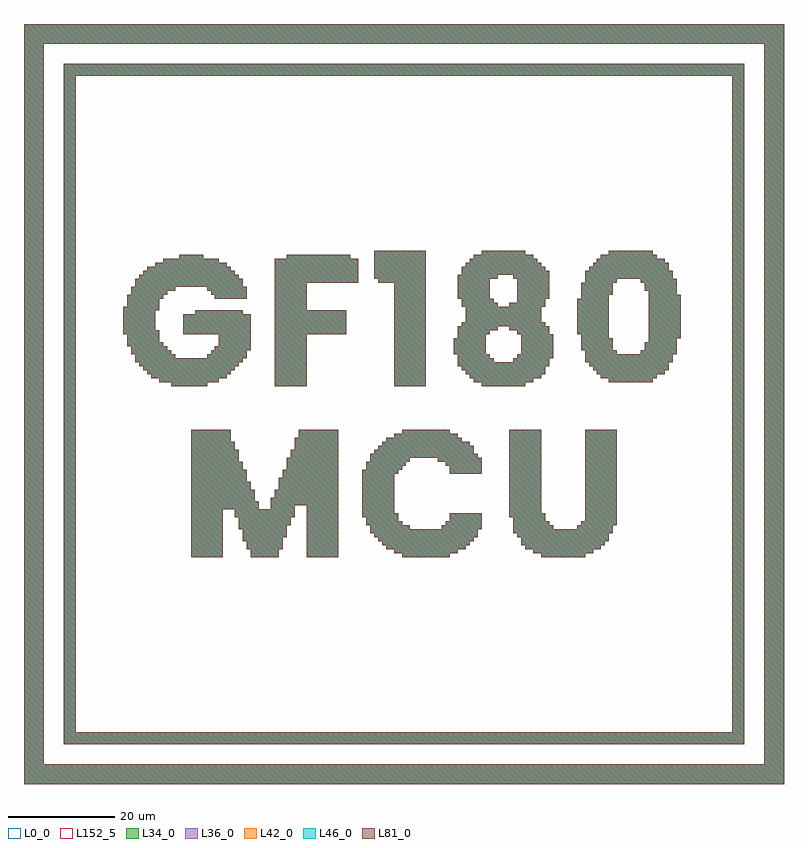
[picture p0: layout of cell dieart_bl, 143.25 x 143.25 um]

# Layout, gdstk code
import gdstk
lib = gdstk.Library(unit=1e-6, precision=1e-09)
def R(c, l, rs):  # rectangles x0, y0, x1, y1
    for r in rs: c.add(gdstk.rectangle(r[:2], r[2:], *l))
def A(c, l, x, y, w, h, nx, ny, dx, dy):  # array of equal rectangles
    R(c, l, [(x+i*dx, y+j*dy, x+i*dx+w, y+j*dy+h) for i in range(nx) for j in range(ny)])
L0_0 = (0, 0)
L34_0 = (34, 0)
L36_0 = (36, 0)
L42_0 = (42, 0)
L46_0 = (46, 0)
L81_0 = (81, 0)
L152_5 = (152, 5)

dieart_bl = lib.new_cell('dieart_bl')
R(dieart_bl, L0_0, [(0,0,143.25,143.25)])
A(dieart_bl, L34_0, 65.25, 48, 7.5, 0.75, 3, 1, 13.5, 0)
A(dieart_bl, L34_0, 79.5, 48.75, 6.75, 0.75, 3, 1, 12.75, 0)
R(dieart_bl, L34_0, [(0,0,143.25,3.75), (0,3.75,3.75,139.5), (139.5,3.75,143.25,139.5), (7.5,7.5,135.75,9.75), (7.5,9.75,9.75,133.5), (133.5,9.75,135.75,133.5), (31.5,42.75,37.5,51.75), (42.75,42.75,48,44.25), (53.25,42.75,59.25,52.5), (71.25,42.75,80.25,43.5), (97.5,42.75,105.75,43.5), (69.75,43.5,81.75,44.25), (96,43.5,107.25,44.25), (42,44.25,48.75,45.75), (68.25,44.25,83.25,45), (94.5,44.25,108.75,45), (67.5,45,84,45.75), (93.75,45,109.5,45.75), (41.25,45.75,48.75,46.5), (66.75,45.75,84.75,46.5), (93.75,45.75,110.25,46.5), (41.25,46.5,49.5,48), (66,46.5,85.5,47.25), (93,46.5,110.25,47.25), (65.25,47.25,85.5,48), (92.25,47.25,111,48), (40.5,48,49.5,48.75), (104.25,48,111,48.75), (40.5,48.75,50.25,50.25), (64.5,48.75,71.25,49.5), (64.5,49.5,70.5,50.25), (80.25,49.5,86.25,51), (92.25,49.5,98.25,50.25), (105.75,49.5,111.75,66.75), (39.75,50.25,51,51.75), (63.75,50.25,70.5,51), (91.5,50.25,98.25,51), (63.75,51,69.75,58.5), (91.5,51,97.5,66.75), (31.5,51.75,44.25,53.25), (46.5,51.75,51,52.5), (46.5,52.5,59.25,54), (31.5,53.25,43.5,55.5), (47.25,54,59.25,55.5), (31.5,55.5,42.75,57), (48,55.5,59.25,57.75), (31.5,57,42,59.25), (48.75,57.75,59.25,59.25), (63.75,58.5,70.5,59.25), (80.25,58.5,86.25,60), (31.5,59.25,41.25,60.75), (49.5,59.25,59.25,61.5), (64.5,59.25,71.25,60), (64.5,60,72,60.75), (79.5,60,86.25,60.75), (31.5,60.75,40.5,63), (65.25,60.75,72.75,61.5), (78,60.75,86.25,61.5), (50.25,61.5,59.25,63), (65.25,61.5,85.5,62.25), (66,62.25,84.75,63), (31.5,63,39.75,64.5), (51,63,59.25,65.25), (66.75,63,84.75,63.75), (67.5,63.75,84,64.5), (31.5,64.5,39,66.75), (68.25,64.5,82.5,65.25), (51.75,65.25,59.25,66.75), (69.75,65.25,81.75,66), (71.25,66,80.25,66.75), (27.75,75,34.5,75.75), (47.25,75,53.25,84.75), (69.75,75,75.75,94.5), (86.25,75,94.5,75.75), (25.5,75.75,36.75,76.5), (84.75,75.75,96,76.5), (110.25,75.75,118.5,76.5), (24,76.5,38.25,77.25), (84,76.5,97.5,77.25), (108.75,76.5,119.25,77.25), (23.25,77.25,39,78), (83.25,77.25,98.25,78), (108,77.25,120.75,78), (22.5,78,39.75,78.75), (82.5,78,98.25,78.75), (107.25,78,121.5,78.75), (21.75,78.75,40.5,79.5), (81.75,78.75,99,79.5), (106.5,78.75,121.5,79.5), (21,79.5,41.25,80.25), (81.75,79.5,88.5,80.25), (92.25,79.5,99,80.25), (105.75,79.5,122.25,81), (21,80.25,28.5,81), (34.5,80.25,42,81), (81.75,80.25,87.75,81), (93,80.25,99.75,81), (20.25,81,27.75,81.75), (35.25,81,42,81.75), (81,81,87,84), (93.75,81,99.75,84.75), (105.75,81,111.75,81.75), (116.25,81,123,81.75), (20.25,81.75,27,82.5), (36,81.75,42.75,82.5), (105,81.75,111,84), (117,81.75,123,83.25), (19.5,82.5,26.25,83.25), (36.75,82.5,42.75,84.75), (19.5,83.25,25.5,84.75), (117.75,83.25,123,84), (81.75,84,87,84.75), (105,84,110.25,84.75), (117.75,84,123.75,92.25), (18.75,84.75,25.5,85.5), (30,84.75,42.75,88.5), (47.25,84.75,60.75,89.25), (81.75,84.75,87.75,85.5), (93,84.75,99,85.5), (104.25,84.75,110.25,91.5), (18.75,85.5,24.75,89.25), (81.75,85.5,89.25,86.25), (91.5,85.5,99,86.25), (82.5,86.25,98.25,87), (83.25,87,97.5,90), (32.25,88.5,41.25,89.25), (18.75,89.25,25.5,90), (47.25,89.25,53.25,94.5), (19.5,90,25.5,91.5), (82.5,90,89.25,90.75), (91.5,90,98.25,90.75), (82.5,90.75,88.5,91.5), (93,90.75,98.25,91.5), (19.5,91.5,26.25,92.25), (36,91.5,42,92.25), (81.75,91.5,87.75,95.25), (93,91.5,99,95.25), (105,91.5,110.25,92.25), (20.25,92.25,27,93), (35.25,92.25,42,93), (105,92.25,111,94.5), (117.75,92.25,123,93), (20.25,93,28.5,93.75), (34.5,93,42,93.75), (117,93,123,94.5), (21,93.75,41.25,95.25), (47.25,94.5,63,99), (66.75,94.5,75.75,95.25), (105.75,94.5,111.75,95.25), (116.25,94.5,123,95.25), (21.75,95.25,40.5,96), (66,95.25,75.75,100.5), (81.75,95.25,89.25,96), (92.25,95.25,99,96), (105.75,95.25,122.25,96.75), (22.5,96,39.75,96.75), (82.5,96,99,96.75), (23.25,96.75,39,97.5), (82.5,96.75,98.25,97.5), (106.5,96.75,121.5,97.5), (24.75,97.5,38.25,98.25), (83.25,97.5,97.5,98.25), (107.25,97.5,121.5,98.25), (26.25,98.25,36.75,99), (84,98.25,96.75,99), (108,98.25,120.75,99), (29.25,99,33.75,99.75), (49.5,99,61.5,99.75), (84.75,99,96,99.75), (108.75,99,119.25,99.75), (86.25,99.75,94.5,100.5), (110.25,99.75,118.5,100.5), (7.5,133.5,135.75,135.75), (0,139.5,143.25,143.25)])
A(dieart_bl, L36_0, 65.25, 48, 7.5, 0.75, 3, 1, 13.5, 0)
A(dieart_bl, L36_0, 79.5, 48.75, 6.75, 0.75, 3, 1, 12.75, 0)
R(dieart_bl, L36_0, [(0,0,143.25,3.75), (0,3.75,3.75,139.5), (139.5,3.75,143.25,139.5), (7.5,7.5,135.75,9.75), (7.5,9.75,9.75,133.5), (133.5,9.75,135.75,133.5), (31.5,42.75,37.5,51.75), (42.75,42.75,48,44.25), (53.25,42.75,59.25,52.5), (71.25,42.75,80.25,43.5), (97.5,42.75,105.75,43.5), (69.75,43.5,81.75,44.25), (96,43.5,107.25,44.25), (42,44.25,48.75,45.75), (68.25,44.25,83.25,45), (94.5,44.25,108.75,45), (67.5,45,84,45.75), (93.75,45,109.5,45.75), (41.25,45.75,48.75,46.5), (66.75,45.75,84.75,46.5), (93.75,45.75,110.25,46.5), (41.25,46.5,49.5,48), (66,46.5,85.5,47.25), (93,46.5,110.25,47.25), (65.25,47.25,85.5,48), (92.25,47.25,111,48), (40.5,48,49.5,48.75), (104.25,48,111,48.75), (40.5,48.75,50.25,50.25), (64.5,48.75,71.25,49.5), (64.5,49.5,70.5,50.25), (80.25,49.5,86.25,51), (92.25,49.5,98.25,50.25), (105.75,49.5,111.75,66.75), (39.75,50.25,51,51.75), (63.75,50.25,70.5,51), (91.5,50.25,98.25,51), (63.75,51,69.75,58.5), (91.5,51,97.5,66.75), (31.5,51.75,44.25,53.25), (46.5,51.75,51,52.5), (46.5,52.5,59.25,54), (31.5,53.25,43.5,55.5), (47.25,54,59.25,55.5), (31.5,55.5,42.75,57), (48,55.5,59.25,57.75), (31.5,57,42,59.25), (48.75,57.75,59.25,59.25), (63.75,58.5,70.5,59.25), (80.25,58.5,86.25,60), (31.5,59.25,41.25,60.75), (49.5,59.25,59.25,61.5), (64.5,59.25,71.25,60), (64.5,60,72,60.75), (79.5,60,86.25,60.75), (31.5,60.75,40.5,63), (65.25,60.75,72.75,61.5), (78,60.75,86.25,61.5), (50.25,61.5,59.25,63), (65.25,61.5,85.5,62.25), (66,62.25,84.75,63), (31.5,63,39.75,64.5), (51,63,59.25,65.25), (66.75,63,84.75,63.75), (67.5,63.75,84,64.5), (31.5,64.5,39,66.75), (68.25,64.5,82.5,65.25), (51.75,65.25,59.25,66.75), (69.75,65.25,81.75,66), (71.25,66,80.25,66.75), (27.75,75,34.5,75.75), (47.25,75,53.25,84.75), (69.75,75,75.75,94.5), (86.25,75,94.5,75.75), (25.5,75.75,36.75,76.5), (84.75,75.75,96,76.5), (110.25,75.75,118.5,76.5), (24,76.5,38.25,77.25), (84,76.5,97.5,77.25), (108.75,76.5,119.25,77.25), (23.25,77.25,39,78), (83.25,77.25,98.25,78), (108,77.25,120.75,78), (22.5,78,39.75,78.75), (82.5,78,98.25,78.75), (107.25,78,121.5,78.75), (21.75,78.75,40.5,79.5), (81.75,78.75,99,79.5), (106.5,78.75,121.5,79.5), (21,79.5,41.25,80.25), (81.75,79.5,88.5,80.25), (92.25,79.5,99,80.25), (105.75,79.5,122.25,81), (21,80.25,28.5,81), (34.5,80.25,42,81), (81.75,80.25,87.75,81), (93,80.25,99.75,81), (20.25,81,27.75,81.75), (35.25,81,42,81.75), (81,81,87,84), (93.75,81,99.75,84.75), (105.75,81,111.75,81.75), (116.25,81,123,81.75), (20.25,81.75,27,82.5), (36,81.75,42.75,82.5), (105,81.75,111,84), (117,81.75,123,83.25), (19.5,82.5,26.25,83.25), (36.75,82.5,42.75,84.75), (19.5,83.25,25.5,84.75), (117.75,83.25,123,84), (81.75,84,87,84.75), (105,84,110.25,84.75), (117.75,84,123.75,92.25), (18.75,84.75,25.5,85.5), (30,84.75,42.75,88.5), (47.25,84.75,60.75,89.25), (81.75,84.75,87.75,85.5), (93,84.75,99,85.5), (104.25,84.75,110.25,91.5), (18.75,85.5,24.75,89.25), (81.75,85.5,89.25,86.25), (91.5,85.5,99,86.25), (82.5,86.25,98.25,87), (83.25,87,97.5,90), (32.25,88.5,41.25,89.25), (18.75,89.25,25.5,90), (47.25,89.25,53.25,94.5), (19.5,90,25.5,91.5), (82.5,90,89.25,90.75), (91.5,90,98.25,90.75), (82.5,90.75,88.5,91.5), (93,90.75,98.25,91.5), (19.5,91.5,26.25,92.25), (36,91.5,42,92.25), (81.75,91.5,87.75,95.25), (93,91.5,99,95.25), (105,91.5,110.25,92.25), (20.25,92.25,27,93), (35.25,92.25,42,93), (105,92.25,111,94.5), (117.75,92.25,123,93), (20.25,93,28.5,93.75), (34.5,93,42,93.75), (117,93,123,94.5), (21,93.75,41.25,95.25), (47.25,94.5,63,99), (66.75,94.5,75.75,95.25), (105.75,94.5,111.75,95.25), (116.25,94.5,123,95.25), (21.75,95.25,40.5,96), (66,95.25,75.75,100.5), (81.75,95.25,89.25,96), (92.25,95.25,99,96), (105.75,95.25,122.25,96.75), (22.5,96,39.75,96.75), (82.5,96,99,96.75), (23.25,96.75,39,97.5), (82.5,96.75,98.25,97.5), (106.5,96.75,121.5,97.5), (24.75,97.5,38.25,98.25), (83.25,97.5,97.5,98.25), (107.25,97.5,121.5,98.25), (26.25,98.25,36.75,99), (84,98.25,96.75,99), (108,98.25,120.75,99), (29.25,99,33.75,99.75), (49.5,99,61.5,99.75), (84.75,99,96,99.75), (108.75,99,119.25,99.75), (86.25,99.75,94.5,100.5), (110.25,99.75,118.5,100.5), (7.5,133.5,135.75,135.75), (0,139.5,143.25,143.25)])
A(dieart_bl, L42_0, 65.25, 48, 7.5, 0.75, 3, 1, 13.5, 0)
A(dieart_bl, L42_0, 79.5, 48.75, 6.75, 0.75, 3, 1, 12.75, 0)
R(dieart_bl, L42_0, [(0,0,143.25,3.75), (0,3.75,3.75,139.5), (139.5,3.75,143.25,139.5), (7.5,7.5,135.75,9.75), (7.5,9.75,9.75,133.5), (133.5,9.75,135.75,133.5), (31.5,42.75,37.5,51.75), (42.75,42.75,48,44.25), (53.25,42.75,59.25,52.5), (71.25,42.75,80.25,43.5), (97.5,42.75,105.75,43.5), (69.75,43.5,81.75,44.25), (96,43.5,107.25,44.25), (42,44.25,48.75,45.75), (68.25,44.25,83.25,45), (94.5,44.25,108.75,45), (67.5,45,84,45.75), (93.75,45,109.5,45.75), (41.25,45.75,48.75,46.5), (66.75,45.75,84.75,46.5), (93.75,45.75,110.25,46.5), (41.25,46.5,49.5,48), (66,46.5,85.5,47.25), (93,46.5,110.25,47.25), (65.25,47.25,85.5,48), (92.25,47.25,111,48), (40.5,48,49.5,48.75), (104.25,48,111,48.75), (40.5,48.75,50.25,50.25), (64.5,48.75,71.25,49.5), (64.5,49.5,70.5,50.25), (80.25,49.5,86.25,51), (92.25,49.5,98.25,50.25), (105.75,49.5,111.75,66.75), (39.75,50.25,51,51.75), (63.75,50.25,70.5,51), (91.5,50.25,98.25,51), (63.75,51,69.75,58.5), (91.5,51,97.5,66.75), (31.5,51.75,44.25,53.25), (46.5,51.75,51,52.5), (46.5,52.5,59.25,54), (31.5,53.25,43.5,55.5), (47.25,54,59.25,55.5), (31.5,55.5,42.75,57), (48,55.5,59.25,57.75), (31.5,57,42,59.25), (48.75,57.75,59.25,59.25), (63.75,58.5,70.5,59.25), (80.25,58.5,86.25,60), (31.5,59.25,41.25,60.75), (49.5,59.25,59.25,61.5), (64.5,59.25,71.25,60), (64.5,60,72,60.75), (79.5,60,86.25,60.75), (31.5,60.75,40.5,63), (65.25,60.75,72.75,61.5), (78,60.75,86.25,61.5), (50.25,61.5,59.25,63), (65.25,61.5,85.5,62.25), (66,62.25,84.75,63), (31.5,63,39.75,64.5), (51,63,59.25,65.25), (66.75,63,84.75,63.75), (67.5,63.75,84,64.5), (31.5,64.5,39,66.75), (68.25,64.5,82.5,65.25), (51.75,65.25,59.25,66.75), (69.75,65.25,81.75,66), (71.25,66,80.25,66.75), (27.75,75,34.5,75.75), (47.25,75,53.25,84.75), (69.75,75,75.75,94.5), (86.25,75,94.5,75.75), (25.5,75.75,36.75,76.5), (84.75,75.75,96,76.5), (110.25,75.75,118.5,76.5), (24,76.5,38.25,77.25), (84,76.5,97.5,77.25), (108.75,76.5,119.25,77.25), (23.25,77.25,39,78), (83.25,77.25,98.25,78), (108,77.25,120.75,78), (22.5,78,39.75,78.75), (82.5,78,98.25,78.75), (107.25,78,121.5,78.75), (21.75,78.75,40.5,79.5), (81.75,78.75,99,79.5), (106.5,78.75,121.5,79.5), (21,79.5,41.25,80.25), (81.75,79.5,88.5,80.25), (92.25,79.5,99,80.25), (105.75,79.5,122.25,81), (21,80.25,28.5,81), (34.5,80.25,42,81), (81.75,80.25,87.75,81), (93,80.25,99.75,81), (20.25,81,27.75,81.75), (35.25,81,42,81.75), (81,81,87,84), (93.75,81,99.75,84.75), (105.75,81,111.75,81.75), (116.25,81,123,81.75), (20.25,81.75,27,82.5), (36,81.75,42.75,82.5), (105,81.75,111,84), (117,81.75,123,83.25), (19.5,82.5,26.25,83.25), (36.75,82.5,42.75,84.75), (19.5,83.25,25.5,84.75), (117.75,83.25,123,84), (81.75,84,87,84.75), (105,84,110.25,84.75), (117.75,84,123.75,92.25), (18.75,84.75,25.5,85.5), (30,84.75,42.75,88.5), (47.25,84.75,60.75,89.25), (81.75,84.75,87.75,85.5), (93,84.75,99,85.5), (104.25,84.75,110.25,91.5), (18.75,85.5,24.75,89.25), (81.75,85.5,89.25,86.25), (91.5,85.5,99,86.25), (82.5,86.25,98.25,87), (83.25,87,97.5,90), (32.25,88.5,41.25,89.25), (18.75,89.25,25.5,90), (47.25,89.25,53.25,94.5), (19.5,90,25.5,91.5), (82.5,90,89.25,90.75), (91.5,90,98.25,90.75), (82.5,90.75,88.5,91.5), (93,90.75,98.25,91.5), (19.5,91.5,26.25,92.25), (36,91.5,42,92.25), (81.75,91.5,87.75,95.25), (93,91.5,99,95.25), (105,91.5,110.25,92.25), (20.25,92.25,27,93), (35.25,92.25,42,93), (105,92.25,111,94.5), (117.75,92.25,123,93), (20.25,93,28.5,93.75), (34.5,93,42,93.75), (117,93,123,94.5), (21,93.75,41.25,95.25), (47.25,94.5,63,99), (66.75,94.5,75.75,95.25), (105.75,94.5,111.75,95.25), (116.25,94.5,123,95.25), (21.75,95.25,40.5,96), (66,95.25,75.75,100.5), (81.75,95.25,89.25,96), (92.25,95.25,99,96), (105.75,95.25,122.25,96.75), (22.5,96,39.75,96.75), (82.5,96,99,96.75), (23.25,96.75,39,97.5), (82.5,96.75,98.25,97.5), (106.5,96.75,121.5,97.5), (24.75,97.5,38.25,98.25), (83.25,97.5,97.5,98.25), (107.25,97.5,121.5,98.25), (26.25,98.25,36.75,99), (84,98.25,96.75,99), (108,98.25,120.75,99), (29.25,99,33.75,99.75), (49.5,99,61.5,99.75), (84.75,99,96,99.75), (108.75,99,119.25,99.75), (86.25,99.75,94.5,100.5), (110.25,99.75,118.5,100.5), (7.5,133.5,135.75,135.75), (0,139.5,143.25,143.25)])
A(dieart_bl, L46_0, 65.25, 48, 7.5, 0.75, 3, 1, 13.5, 0)
A(dieart_bl, L46_0, 79.5, 48.75, 6.75, 0.75, 3, 1, 12.75, 0)
R(dieart_bl, L46_0, [(0,0,143.25,3.75), (0,3.75,3.75,139.5), (139.5,3.75,143.25,139.5), (7.5,7.5,135.75,9.75), (7.5,9.75,9.75,133.5), (133.5,9.75,135.75,133.5), (31.5,42.75,37.5,51.75), (42.75,42.75,48,44.25), (53.25,42.75,59.25,52.5), (71.25,42.75,80.25,43.5), (97.5,42.75,105.75,43.5), (69.75,43.5,81.75,44.25), (96,43.5,107.25,44.25), (42,44.25,48.75,45.75), (68.25,44.25,83.25,45), (94.5,44.25,108.75,45), (67.5,45,84,45.75), (93.75,45,109.5,45.75), (41.25,45.75,48.75,46.5), (66.75,45.75,84.75,46.5), (93.75,45.75,110.25,46.5), (41.25,46.5,49.5,48), (66,46.5,85.5,47.25), (93,46.5,110.25,47.25), (65.25,47.25,85.5,48), (92.25,47.25,111,48), (40.5,48,49.5,48.75), (104.25,48,111,48.75), (40.5,48.75,50.25,50.25), (64.5,48.75,71.25,49.5), (64.5,49.5,70.5,50.25), (80.25,49.5,86.25,51), (92.25,49.5,98.25,50.25), (105.75,49.5,111.75,66.75), (39.75,50.25,51,51.75), (63.75,50.25,70.5,51), (91.5,50.25,98.25,51), (63.75,51,69.75,58.5), (91.5,51,97.5,66.75), (31.5,51.75,44.25,53.25), (46.5,51.75,51,52.5), (46.5,52.5,59.25,54), (31.5,53.25,43.5,55.5), (47.25,54,59.25,55.5), (31.5,55.5,42.75,57), (48,55.5,59.25,57.75), (31.5,57,42,59.25), (48.75,57.75,59.25,59.25), (63.75,58.5,70.5,59.25), (80.25,58.5,86.25,60), (31.5,59.25,41.25,60.75), (49.5,59.25,59.25,61.5), (64.5,59.25,71.25,60), (64.5,60,72,60.75), (79.5,60,86.25,60.75), (31.5,60.75,40.5,63), (65.25,60.75,72.75,61.5), (78,60.75,86.25,61.5), (50.25,61.5,59.25,63), (65.25,61.5,85.5,62.25), (66,62.25,84.75,63), (31.5,63,39.75,64.5), (51,63,59.25,65.25), (66.75,63,84.75,63.75), (67.5,63.75,84,64.5), (31.5,64.5,39,66.75), (68.25,64.5,82.5,65.25), (51.75,65.25,59.25,66.75), (69.75,65.25,81.75,66), (71.25,66,80.25,66.75), (27.75,75,34.5,75.75), (47.25,75,53.25,84.75), (69.75,75,75.75,94.5), (86.25,75,94.5,75.75), (25.5,75.75,36.75,76.5), (84.75,75.75,96,76.5), (110.25,75.75,118.5,76.5), (24,76.5,38.25,77.25), (84,76.5,97.5,77.25), (108.75,76.5,119.25,77.25), (23.25,77.25,39,78), (83.25,77.25,98.25,78), (108,77.25,120.75,78), (22.5,78,39.75,78.75), (82.5,78,98.25,78.75), (107.25,78,121.5,78.75), (21.75,78.75,40.5,79.5), (81.75,78.75,99,79.5), (106.5,78.75,121.5,79.5), (21,79.5,41.25,80.25), (81.75,79.5,88.5,80.25), (92.25,79.5,99,80.25), (105.75,79.5,122.25,81), (21,80.25,28.5,81), (34.5,80.25,42,81), (81.75,80.25,87.75,81), (93,80.25,99.75,81), (20.25,81,27.75,81.75), (35.25,81,42,81.75), (81,81,87,84), (93.75,81,99.75,84.75), (105.75,81,111.75,81.75), (116.25,81,123,81.75), (20.25,81.75,27,82.5), (36,81.75,42.75,82.5), (105,81.75,111,84), (117,81.75,123,83.25), (19.5,82.5,26.25,83.25), (36.75,82.5,42.75,84.75), (19.5,83.25,25.5,84.75), (117.75,83.25,123,84), (81.75,84,87,84.75), (105,84,110.25,84.75), (117.75,84,123.75,92.25), (18.75,84.75,25.5,85.5), (30,84.75,42.75,88.5), (47.25,84.75,60.75,89.25), (81.75,84.75,87.75,85.5), (93,84.75,99,85.5), (104.25,84.75,110.25,91.5), (18.75,85.5,24.75,89.25), (81.75,85.5,89.25,86.25), (91.5,85.5,99,86.25), (82.5,86.25,98.25,87), (83.25,87,97.5,90), (32.25,88.5,41.25,89.25), (18.75,89.25,25.5,90), (47.25,89.25,53.25,94.5), (19.5,90,25.5,91.5), (82.5,90,89.25,90.75), (91.5,90,98.25,90.75), (82.5,90.75,88.5,91.5), (93,90.75,98.25,91.5), (19.5,91.5,26.25,92.25), (36,91.5,42,92.25), (81.75,91.5,87.75,95.25), (93,91.5,99,95.25), (105,91.5,110.25,92.25), (20.25,92.25,27,93), (35.25,92.25,42,93), (105,92.25,111,94.5), (117.75,92.25,123,93), (20.25,93,28.5,93.75), (34.5,93,42,93.75), (117,93,123,94.5), (21,93.75,41.25,95.25), (47.25,94.5,63,99), (66.75,94.5,75.75,95.25), (105.75,94.5,111.75,95.25), (116.25,94.5,123,95.25), (21.75,95.25,40.5,96), (66,95.25,75.75,100.5), (81.75,95.25,89.25,96), (92.25,95.25,99,96), (105.75,95.25,122.25,96.75), (22.5,96,39.75,96.75), (82.5,96,99,96.75), (23.25,96.75,39,97.5), (82.5,96.75,98.25,97.5), (106.5,96.75,121.5,97.5), (24.75,97.5,38.25,98.25), (83.25,97.5,97.5,98.25), (107.25,97.5,121.5,98.25), (26.25,98.25,36.75,99), (84,98.25,96.75,99), (108,98.25,120.75,99), (29.25,99,33.75,99.75), (49.5,99,61.5,99.75), (84.75,99,96,99.75), (108.75,99,119.25,99.75), (86.25,99.75,94.5,100.5), (110.25,99.75,118.5,100.5), (7.5,133.5,135.75,135.75), (0,139.5,143.25,143.25)])
A(dieart_bl, L81_0, 65.25, 48, 7.5, 0.75, 3, 1, 13.5, 0)
A(dieart_bl, L81_0, 79.5, 48.75, 6.75, 0.75, 3, 1, 12.75, 0)
R(dieart_bl, L81_0, [(0,0,143.25,3.75), (0,3.75,3.75,139.5), (139.5,3.75,143.25,139.5), (7.5,7.5,135.75,9.75), (7.5,9.75,9.75,133.5), (133.5,9.75,135.75,133.5), (31.5,42.75,37.5,51.75), (42.75,42.75,48,44.25), (53.25,42.75,59.25,52.5), (71.25,42.75,80.25,43.5), (97.5,42.75,105.75,43.5), (69.75,43.5,81.75,44.25), (96,43.5,107.25,44.25), (42,44.25,48.75,45.75), (68.25,44.25,83.25,45), (94.5,44.25,108.75,45), (67.5,45,84,45.75), (93.75,45,109.5,45.75), (41.25,45.75,48.75,46.5), (66.75,45.75,84.75,46.5), (93.75,45.75,110.25,46.5), (41.25,46.5,49.5,48), (66,46.5,85.5,47.25), (93,46.5,110.25,47.25), (65.25,47.25,85.5,48), (92.25,47.25,111,48), (40.5,48,49.5,48.75), (104.25,48,111,48.75), (40.5,48.75,50.25,50.25), (64.5,48.75,71.25,49.5), (64.5,49.5,70.5,50.25), (80.25,49.5,86.25,51), (92.25,49.5,98.25,50.25), (105.75,49.5,111.75,66.75), (39.75,50.25,51,51.75), (63.75,50.25,70.5,51), (91.5,50.25,98.25,51), (63.75,51,69.75,58.5), (91.5,51,97.5,66.75), (31.5,51.75,44.25,53.25), (46.5,51.75,51,52.5), (46.5,52.5,59.25,54), (31.5,53.25,43.5,55.5), (47.25,54,59.25,55.5), (31.5,55.5,42.75,57), (48,55.5,59.25,57.75), (31.5,57,42,59.25), (48.75,57.75,59.25,59.25), (63.75,58.5,70.5,59.25), (80.25,58.5,86.25,60), (31.5,59.25,41.25,60.75), (49.5,59.25,59.25,61.5), (64.5,59.25,71.25,60), (64.5,60,72,60.75), (79.5,60,86.25,60.75), (31.5,60.75,40.5,63), (65.25,60.75,72.75,61.5), (78,60.75,86.25,61.5), (50.25,61.5,59.25,63), (65.25,61.5,85.5,62.25), (66,62.25,84.75,63), (31.5,63,39.75,64.5), (51,63,59.25,65.25), (66.75,63,84.75,63.75), (67.5,63.75,84,64.5), (31.5,64.5,39,66.75), (68.25,64.5,82.5,65.25), (51.75,65.25,59.25,66.75), (69.75,65.25,81.75,66), (71.25,66,80.25,66.75), (27.75,75,34.5,75.75), (47.25,75,53.25,84.75), (69.75,75,75.75,94.5), (86.25,75,94.5,75.75), (25.5,75.75,36.75,76.5), (84.75,75.75,96,76.5), (110.25,75.75,118.5,76.5), (24,76.5,38.25,77.25), (84,76.5,97.5,77.25), (108.75,76.5,119.25,77.25), (23.25,77.25,39,78), (83.25,77.25,98.25,78), (108,77.25,120.75,78), (22.5,78,39.75,78.75), (82.5,78,98.25,78.75), (107.25,78,121.5,78.75), (21.75,78.75,40.5,79.5), (81.75,78.75,99,79.5), (106.5,78.75,121.5,79.5), (21,79.5,41.25,80.25), (81.75,79.5,88.5,80.25), (92.25,79.5,99,80.25), (105.75,79.5,122.25,81), (21,80.25,28.5,81), (34.5,80.25,42,81), (81.75,80.25,87.75,81), (93,80.25,99.75,81), (20.25,81,27.75,81.75), (35.25,81,42,81.75), (81,81,87,84), (93.75,81,99.75,84.75), (105.75,81,111.75,81.75), (116.25,81,123,81.75), (20.25,81.75,27,82.5), (36,81.75,42.75,82.5), (105,81.75,111,84), (117,81.75,123,83.25), (19.5,82.5,26.25,83.25), (36.75,82.5,42.75,84.75), (19.5,83.25,25.5,84.75), (117.75,83.25,123,84), (81.75,84,87,84.75), (105,84,110.25,84.75), (117.75,84,123.75,92.25), (18.75,84.75,25.5,85.5), (30,84.75,42.75,88.5), (47.25,84.75,60.75,89.25), (81.75,84.75,87.75,85.5), (93,84.75,99,85.5), (104.25,84.75,110.25,91.5), (18.75,85.5,24.75,89.25), (81.75,85.5,89.25,86.25), (91.5,85.5,99,86.25), (82.5,86.25,98.25,87), (83.25,87,97.5,90), (32.25,88.5,41.25,89.25), (18.75,89.25,25.5,90), (47.25,89.25,53.25,94.5), (19.5,90,25.5,91.5), (82.5,90,89.25,90.75), (91.5,90,98.25,90.75), (82.5,90.75,88.5,91.5), (93,90.75,98.25,91.5), (19.5,91.5,26.25,92.25), (36,91.5,42,92.25), (81.75,91.5,87.75,95.25), (93,91.5,99,95.25), (105,91.5,110.25,92.25), (20.25,92.25,27,93), (35.25,92.25,42,93), (105,92.25,111,94.5), (117.75,92.25,123,93), (20.25,93,28.5,93.75), (34.5,93,42,93.75), (117,93,123,94.5), (21,93.75,41.25,95.25), (47.25,94.5,63,99), (66.75,94.5,75.75,95.25), (105.75,94.5,111.75,95.25), (116.25,94.5,123,95.25), (21.75,95.25,40.5,96), (66,95.25,75.75,100.5), (81.75,95.25,89.25,96), (92.25,95.25,99,96), (105.75,95.25,122.25,96.75), (22.5,96,39.75,96.75), (82.5,96,99,96.75), (23.25,96.75,39,97.5), (82.5,96.75,98.25,97.5), (106.5,96.75,121.5,97.5), (24.75,97.5,38.25,98.25), (83.25,97.5,97.5,98.25), (107.25,97.5,121.5,98.25), (26.25,98.25,36.75,99), (84,98.25,96.75,99), (108,98.25,120.75,99), (29.25,99,33.75,99.75), (49.5,99,61.5,99.75), (84.75,99,96,99.75), (108.75,99,119.25,99.75), (86.25,99.75,94.5,100.5), (110.25,99.75,118.5,100.5), (7.5,133.5,135.75,135.75), (0,139.5,143.25,143.25)])
R(dieart_bl, L152_5, [(0,0,143.25,143.25)])

lib.write_gds('dieart_bl.gds')
